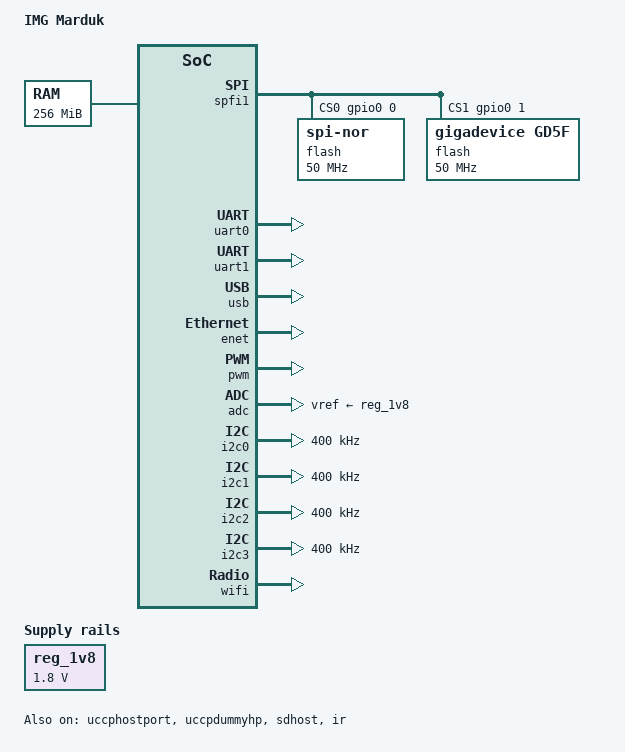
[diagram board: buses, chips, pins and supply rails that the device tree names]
/*
 * Copyright (C) 2015 Imagination Technologies Ltd.
 *
 * This program is free software; you can redistribute it and/or modify
 * it under the terms of the GNU General Public License version 2 as
 * published by the Free Software Foundation.
 */

/dts-v1/;

#include "pistachio.dtsi"

/ {
	model = "IMG Marduk";
	compatible = "img,pistachio-marduk", "img,pistachio";

	aliases {
		console ="/uart@18101500";
		serial0 = &uart0;
		serial1 = &uart1;
		ethernet0 = &enet;
	};

	chosen {
		bootargs = "console=ttyS1,115200n8 earlycon=uart8250,mmio32,0x18101500,115200 root=/dev/sda1 rootwait ro";
		stdout-path = &uart1;
	};

	memory {
		device_type = "memory";
		reg =  <0x00000000 0x10000000>;
	};

	reg_1v8: fixed-regulator {
		compatible = "regulator-fixed";
		regulator-name = "aux_adc_vref";
		regulator-min-microvolt = <1800000>;
		regulator-max-microvolt = <1800000>;
		regulator-boot-on;
	};
};

&spfi1 {
	status = "okay";

	pinctrl-0 = <&spim1_pins>, <&spim1_quad_pins>;
	pinctrl-names = "default";
	cs-gpios = <&gpio0 0 GPIO_ACTIVE_HIGH>, <&gpio0 1 GPIO_ACTIVE_HIGH>;

	flash@0 {
		compatible = "jedec,spi-nor";
		reg = <0>;
		spi-max-frequency = <50000000>;
	};

	flash@1 {
		compatible = "gigadevice,gd5f";
		reg = <1>;
		spi-max-frequency = <50000000>;
		nand-on-flash-bbt;
		#address-cells = <1>;
		#size-cells = <1>;
	};
};

&uccphostport {
	status = "okay";
};

&uccpdummyhp {
	status = "okay";
};

&uart0 {
	status = "okay";
};

&uart1 {
	status = "okay";
};

&usb {
	status = "okay";
};

&enet {
	status = "okay";

	mac-address = [0123456789AB];
};

&sdhost {
	status = "okay";

	bus-width = <4>;
	disable-wp;
};

&ir {
	status = "okay";
};

&pwm {
	status = "okay";

	pinctrl-0 = <&pwmpdm0_pin>, <&pwmpdm1_pin>, <&pwmpdm2_pin>,
		    <&pwmpdm3_pin>;
	pinctrl-names = "default";
};

&adc {
	status = "okay";
	vref-supply = <&reg_1v8>;
};

&i2c0 {
	status = "okay";
	clock-frequency = <400000>;
};

&i2c1 {
	status = "okay";
	clock-frequency = <400000>;
};

&i2c2 {
	status = "okay";
	clock-frequency = <400000>;
};

&i2c3 {
	status = "okay";
	clock-frequency = <400000>;
};

&wifi {
       status = "okay";
       mac-address0 = [0123456789AC];
       mac-address1 = [0123456789AD];
       rf-params = [1E00000000002426292A2C2E3237393F454A52576066000000002B2C3033373A3D44474D51575A61656B6F000000002B2C3033373A3D44474D51575A61656B6F000000002B2C3033373A3D44474D51575A61656B6F000000002B2C3033373A3D44474D51575A61656B6F00000000002426292A2C2E3237393F454A52576066000000002B2C3033373A3D44474D51575A61656B6F000000002B2C3033373A3D44474D51575A61656B6F000000002B2C3033373A3D44474D51575A61656B6F000000002B2C3033373A3D44474D51575A61656B6F0808080808080808080808080808080808080808080808080808080808080808080808080808080808080808080808080808080808080808080808080808080808080808080808080808080808080808080808080808080808080808080808080808080808080808080808080808080808080808080808080808080808080808080808080808080808080808080808080808080808080808080808080808];
       num_streams = [02];
};

